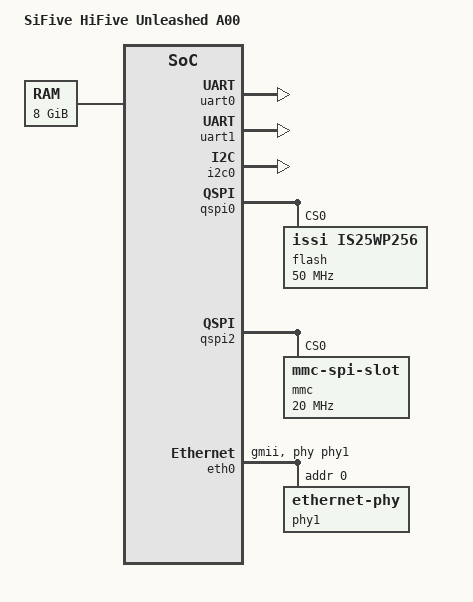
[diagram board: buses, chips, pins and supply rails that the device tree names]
// SPDX-License-Identifier: (GPL-2.0 OR MIT)
/* Copyright (c) 2018-2019 SiFive, Inc */

#include "fu540-c000.dtsi"

/* Clock frequency (in Hz) of the PCB crystal for rtcclk */
#define RTCCLK_FREQ		1000000

/ {
	#address-cells = <2>;
	#size-cells = <2>;
	model = "SiFive HiFive Unleashed A00";
	compatible = "sifive,hifive-unleashed-a00", "sifive,fu540-c000";

	chosen {
	};

	cpus {
		timebase-frequency = <RTCCLK_FREQ>;
	};

	memory@80000000 {
		device_type = "memory";
		reg = <0x0 0x80000000 0x2 0x00000000>;
	};

	soc {
	};

	hfclk: hfclk {
		#clock-cells = <0>;
		compatible = "fixed-clock";
		clock-frequency = <33333333>;
		clock-output-names = "hfclk";
	};

	rtcclk: rtcclk {
		#clock-cells = <0>;
		compatible = "fixed-clock";
		clock-frequency = <RTCCLK_FREQ>;
		clock-output-names = "rtcclk";
	};

	fu540_c000_opp_table: opp-table {
		compatible = "operating-points-v2";
		opp-shared;

		opp-350000000 {
			opp-hz = /bits/ 64 <350000000>;
		};
		opp-700000000 {
			opp-hz = /bits/ 64 <700000000>;
		};
		opp-999999999 {
			opp-hz = /bits/ 64 <999999999>;
		};
		opp-1400000000 {
			opp-hz = /bits/ 64 <1400000000>;
		};
	};
};

&cpu0 {
	operating-points-v2 = <&fu540_c000_opp_table>;
};
&cpu1 {
	operating-points-v2 = <&fu540_c000_opp_table>;
};
&cpu2 {
	operating-points-v2 = <&fu540_c000_opp_table>;
};
&cpu3 {
	operating-points-v2 = <&fu540_c000_opp_table>;
};
&cpu4 {
	operating-points-v2 = <&fu540_c000_opp_table>;
};

&uart0 {
	status = "okay";
};

&uart1 {
	status = "okay";
};

&i2c0 {
	status = "okay";
};

&qspi0 {
	status = "okay";
	flash@0 {
		compatible = "issi,is25wp256", "jedec,spi-nor";
		reg = <0>;
		spi-max-frequency = <50000000>;
		m25p,fast-read;
		spi-tx-bus-width = <4>;
		spi-rx-bus-width = <4>;
	};
};

&qspi2 {
	status = "okay";
	mmc@0 {
		compatible = "mmc-spi-slot";
		reg = <0>;
		spi-max-frequency = <20000000>;
		voltage-ranges = <3300 3300>;
		disable-wp;
	};
};

&eth0 {
	status = "okay";
	phy-mode = "gmii";
	phy-handle = <&phy1>;
	phy1: ethernet-phy@0 {
		reg = <0>;
	};
};
